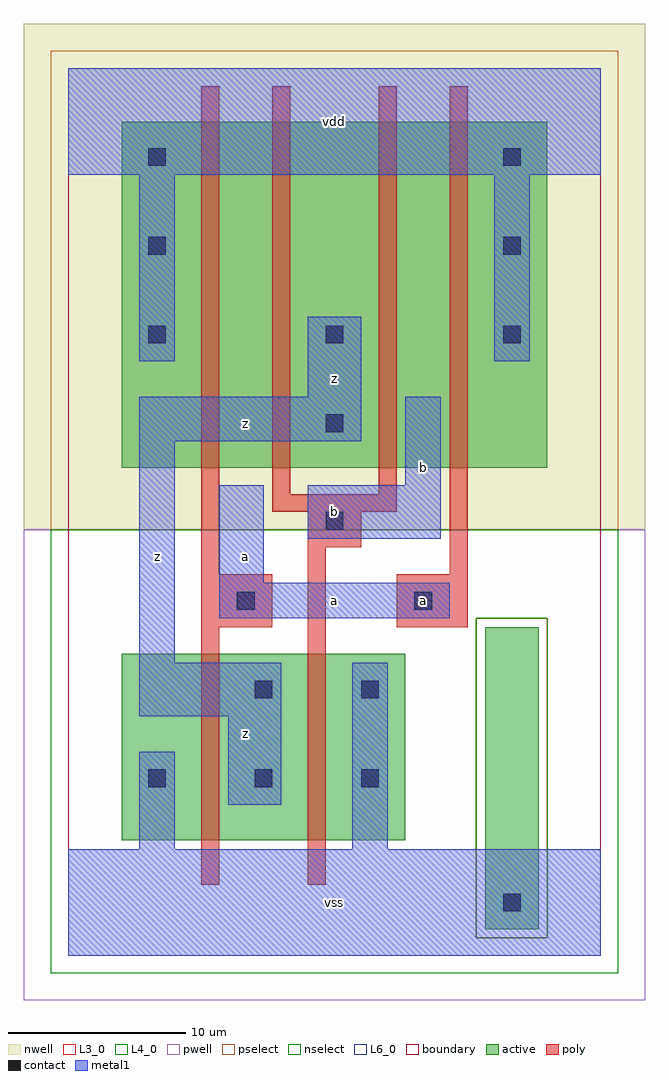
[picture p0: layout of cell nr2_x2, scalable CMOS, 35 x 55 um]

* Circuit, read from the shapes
.subckt nr2_x2 a b vdd vss z
M1 z a vss vss nfet w=10.5u l=1u
M2 vss b z vss nfet w=10.5u l=1u
M3 n1 a vdd n2 pfet w=19.5u l=1u
M4 z b n1 n2 pfet w=19.5u l=1u
M5 n3 b z n2 pfet w=19.5u l=1u
M6 vdd a n3 n2 pfet w=19.5u l=1u
.ends

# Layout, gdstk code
import gdstk
lib = gdstk.Library(unit=1e-6, precision=1e-09)
def R(c, l, rs):  # rectangles x0, y0, x1, y1
    for r in rs: c.add(gdstk.rectangle(r[:2], r[2:], *l))
def A(c, l, x, y, w, h, nx, ny, dx, dy):  # array of equal rectangles
    R(c, l, [(x+i*dx, y+j*dy, x+i*dx+w, y+j*dy+h) for i in range(nx) for j in range(ny)])
L3_0 = (3, 0)
L4_0 = (4, 0)
L6_0 = (6, 0)
contact = (25, 0)
pwell = (41, 0)
nwell = (42, 0)
active = (43, 0)
pselect = (44, 0)
nselect = (45, 0)
poly = (46, 0)
metal1 = (49, 0)
boundary = (63, 0)

nr2_x2 = lib.new_cell('nr2_x2')
R(nr2_x2, L3_0, [(3,6.5,19,17)])
R(nr2_x2, L4_0, [(3,27.5,27,47)])
R(nr2_x2, L6_0, [(23.5,1.5,26.5,18.5)])
A(nr2_x2, contact, 4.5, 9.5, 1, 1, 3, 1, 6, 0)
A(nr2_x2, contact, 4.5, 34.5, 1, 1, 3, 1, 10, 0)
R(nr2_x2, contact, [(24.5,2.5,25.5,3.5), (10.5,14.5,11.5,15.5), (16.5,14.5,17.5,15.5), (9.5,19.5,10.5,20.5), (19.5,19.5,20.5,20.5), (14.5,24,15.5,25), (14.5,29.5,15.5,30.5), (4.5,39.5,5.5,40.5), (24.5,39.5,25.5,40.5), (4.5,44.5,5.5,45.5), (24.5,44.5,25.5,45.5)])
R(nr2_x2, pwell, [(-2.5,-2.5,32.5,24)])
R(nr2_x2, nwell, [(-2.5,24,32.5,52.5)])
R(nr2_x2, active, [(23.5,1.5,26.5,18.5), (3,6.5,19,17), (3,27.5,27,47)])
R(nr2_x2, pselect, [(23,1,27,19), (-1,24,31,51)])
R(nr2_x2, nselect, [(-1,-1,31,1), (-1,1,23,19), (27,1,31,19), (-1,19,31,24)])
R(nr2_x2, poly, [(7.5,4,8.5,18.5), (13.5,4,14.5,23), (7.5,18.5,11.5,21.5), (18.5,18.5,22.5,21.5), (7.5,21.5,8.5,49), (21.5,21.5,22.5,49), (13.5,23,16.5,25), (11.5,25,18.5,26), (11.5,26,12.5,49), (17.5,26,18.5,49)])
R(nr2_x2, metal1, [(0,0,30,6), (0,0,30,6), (4,6,6,11.5), (4,6,6,11.5), (16,6,18,16.5), (16,6,18,16.5), (9,8.5,12,13.5), (9,8.5,12,13.5), (4,13.5,12,16.5), (4,13.5,12,16.5), (4,16.5,6,29), (4,16.5,6,29), (8.5,19,21.5,21), (8.5,19,21.5,21), (8.5,21,11,26.5), (8.5,21,11,26.5), (13.5,23.5,21,26.5), (13.5,23.5,21,26.5), (19,26.5,21,31.5), (19,26.5,21,31.5), (4,29,16.5,31.5), (4,29,16.5,31.5), (13.5,31.5,16.5,36), (13.5,31.5,16.5,36), (4,33.5,6,44), (4,33.5,6,44), (24,33.5,26,44), (24,33.5,26,44), (0,44,30,50), (0,44,30,50)])
R(nr2_x2, boundary, [(0,0,30,50)])
nr2_x2.add(gdstk.Label('z', (5,22.5), layer=49, texttype=0))
nr2_x2.add(gdstk.Label('z', (10,12.5), layer=49, texttype=0))
nr2_x2.add(gdstk.Label('a', (10,22.5), layer=49, texttype=0))
nr2_x2.add(gdstk.Label('z', (10,30), layer=49, texttype=0))
nr2_x2.add(gdstk.Label('vss', (15,3), layer=49, texttype=0))
nr2_x2.add(gdstk.Label('a', (15,20), layer=49, texttype=0))
nr2_x2.add(gdstk.Label('a', (20,20), layer=49, texttype=0))
nr2_x2.add(gdstk.Label('b', (15,25), layer=49, texttype=0))
nr2_x2.add(gdstk.Label('z', (15,32.5), layer=49, texttype=0))
nr2_x2.add(gdstk.Label('b', (20,27.5), layer=49, texttype=0))
nr2_x2.add(gdstk.Label('vdd', (15,47), layer=49, texttype=0))

lib.write_gds('nr2_x2.gds')
